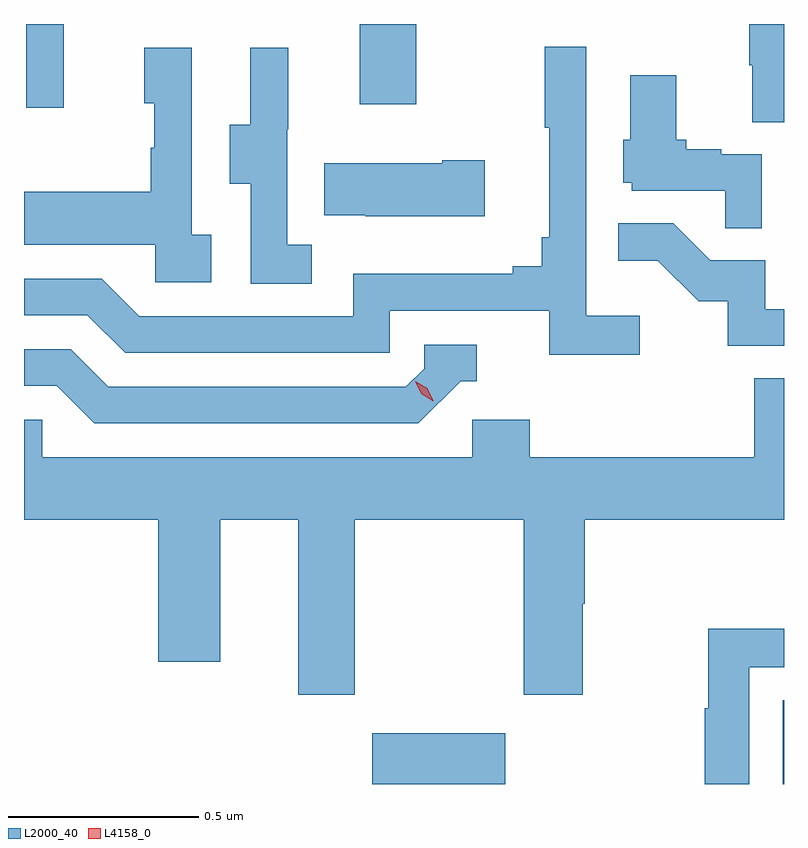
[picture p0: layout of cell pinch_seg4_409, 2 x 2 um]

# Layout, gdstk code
import gdstk
lib = gdstk.Library(unit=1e-6, precision=1e-09)
def R(c, l, rs):  # rectangles x0, y0, x1, y1
    for r in rs: c.add(gdstk.rectangle(r[:2], r[2:], *l))
def P(c, l, *ps):  # polygons
    for p in ps: c.add(gdstk.Polygon(p, *l))
L2000_40 = (2000, 40)
L4158_0 = (4158, 0)

pinch_seg4_409 = lib.new_cell('pinch_seg4_409')
R(pinch_seg4_409, L2000_40, [(968.768,785.468,969.118,785.602), (969.848,785.468,969.851,785.689), (967.857,787.248,967.955,787.468), (968.735,787.257,968.883,787.468)])
P(pinch_seg4_409, L2000_40, [(969.851,787.468),(969.76,787.468),(969.76,787.359),(969.767,787.359),(969.767,787.21),(969.851,787.21)],
  [(969.472,786.7),(969.33,786.7),(969.33,787.408),(969.222,787.408),(969.222,787.195),(969.233,787.195),(969.233,786.907),(969.214,786.907),(969.214,786.83),(969.137,786.83),(969.137,786.811),(968.718,786.811),(968.718,786.699),(968.154,786.699),(968.055,786.798),(967.851,786.798),(967.851,786.702),(968.018,786.702),(968.117,786.603),(968.814,786.603),(968.814,786.714),(969.233,786.714),(969.233,786.598),(969.472,786.598)],
  [(968.344,786.914),(968.292,786.914),(968.292,787.405),(968.168,787.405),(968.168,787.26),(968.194,787.26),(968.194,787.142),(968.184,787.142),(968.184,787.027),(967.851,787.027),(967.851,786.887),(968.196,786.887),(968.196,786.789),(968.344,786.789)],
  [(968.608,786.887),(968.544,786.887),(968.544,787.191),(968.546,787.191),(968.546,787.405),(968.447,787.405),(968.447,787.203),(968.393,787.203),(968.393,787.048),(968.448,787.048),(968.448,786.784),(968.608,786.784)],
  [(969.792,787.125),(969.686,787.125),(969.686,787.138),(969.594,787.138),(969.594,787.164),(969.568,787.164),(969.568,787.333),(969.446,787.333),(969.446,787.164),(969.428,787.164),(969.428,787.05),(969.45,787.05),(969.45,787.029),(969.697,787.029),(969.697,786.931),(969.792,786.931)],
  [(969.064,787.11),(968.951,787.11),(968.951,787.102),(968.641,787.102),(968.641,786.965),(968.749,786.965),(968.749,786.962),(969.064,786.962)],
  [(969.851,786.717),(969.801,786.717),(969.801,786.846),(969.657,786.846),(969.559,786.944),(969.415,786.944),(969.415,786.845),(969.519,786.845),(969.626,786.738),(969.703,786.738),(969.703,786.621),(969.851,786.621)],
  [(969,786.528),(969.043,786.528),(969.043,786.624),(968.904,786.624),(968.904,786.561),(968.856,786.513),(968.073,786.513),(967.974,786.612),(967.851,786.612),(967.851,786.516),(967.937,786.516),(968.036,786.417),(968.889,786.417)],
  [(968.721,786.164),(969.166,786.164),(969.166,785.703),(969.321,785.703),(969.321,785.942),(969.326,785.942),(969.326,786.164),(969.851,786.164),(969.851,786.536),(969.773,786.536),(969.773,786.328),(969.182,786.328),(969.182,786.426),(969.03,786.426),(969.03,786.328),(967.899,786.328),(967.899,786.426),(967.851,786.426),(967.851,786.164),(968.204,786.164),(968.204,785.79),(968.368,785.79),(968.368,786.164),(968.573,786.164),(968.573,785.703),(968.721,785.703)],
  [(969.759,785.775),(969.851,785.775),(969.851,785.876),(969.651,785.876),(969.651,785.668),(969.643,785.668),(969.643,785.468),(969.759,785.468)])
P(pinch_seg4_409, L4158_0, [(968.928,786.475),(968.897,786.495),(968.881,786.528),(968.881,786.528),(968.881,786.528),(968.912,786.509),(968.928,786.476),(968.928,786.475)])

lib.write_gds('pinch_seg4_409.gds')
